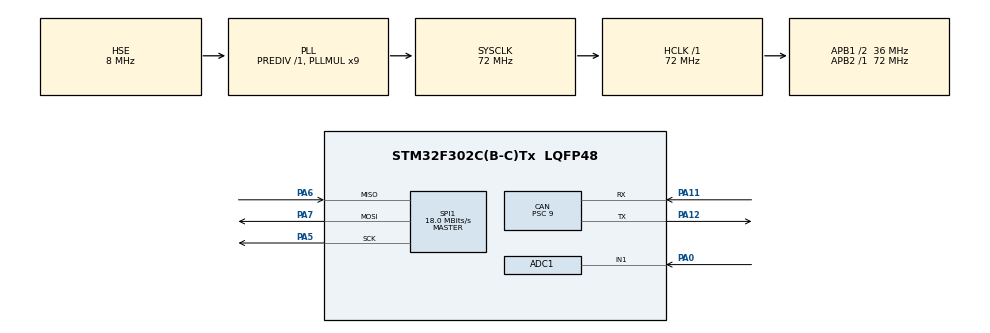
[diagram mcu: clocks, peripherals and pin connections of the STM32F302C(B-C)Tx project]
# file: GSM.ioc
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ADC1.Channel-0\#ChannelRegularConversion=ADC_CHANNEL_1
ADC1.NbrOfConversionFlag=1
ADC1.Offset-0\#ChannelRegularConversion=0
ADC1.OffsetNumber-0\#ChannelRegularConversion=ADC_OFFSET_NONE
ADC1.Rank-0\#ChannelRegularConversion=1
ADC1.SamplingTime-0\#ChannelRegularConversion=ADC_SAMPLETIME_1CYCLE_5
ADC1.SubFamily=STM32F302xC
ADC1.master=1
CAN.ABOM=ENABLE
CAN.BS1=CAN_BS1_6TQ
CAN.CalculateTimeQuantum=250.0
CAN.NART=ENABLE
CAN.Prescaler=9
CAN.RFLM=ENABLE
CAN.SJW=CAN_SJW_4TQ
FREERTOS.INCLUDE_uxTaskGetStackHighWaterMark=1
FREERTOS.INCLUDE_vTaskDelayUntil=1
FREERTOS.MEMORY_ALLOCATION=1
FREERTOS.Tasks01=Task100Hz,-1,512,RunTask100Hz,Default,NULL,Static,Task100HzBuffer,Task100HzControlBlock;Task1Hz,-2,512,RunTask1Hz,Default,NULL,Static,Task1HzBuffer,Task1HzControlBlock;Task1kHz,1,512,RunTask1kHz,Default,NULL,Static,Task1kHzBuffer,Task1kHzControlBlock;TaskCanRx,-3,512,RunTaskCanRx,Default,NULL,Static,TaskCanRxBuffer,TaskCanRxControlBlock;TaskCanTx,-3,512,RunTaskCanTx,Default,NULL,Static,TaskCanTxBuffer,TaskCanTxControlBlock
FREERTOS.configCHECK_FOR_STACK_OVERFLOW=2
FREERTOS.configUSE_TICK_HOOK=1
FREERTOS.configUSE_TRACE_FACILITY=1
IWDG.Reload=LSI_FREQUENCY / IWDG_PRESCALER / IWDG_RESET_FREQUENCY
IWDG.Window=IWDG_WINDOW_DISABLE_VALUE
Mcu.Family=STM32F3
Mcu.Name=STM32F302C(B-C)Tx
Mcu.Package=LQFP48
Mcu.UserConstants=IWDG_WINDOW_DISABLE_VALUE,4095;IWDG_PRESCALER,4;IWDG_RESET_FREQUENCY,5;LSI_FREQUENCY,40000;TASK_STACK_SIZE,512
NVIC.CAN_RX1_IRQn=true\:5\:0\:false\:false\:true\:true\:true\:true
NVIC.PriorityGroup=NVIC_PRIORITYGROUP_4
NVIC.TIM1_UP_TIM16_IRQn=true\:0\:0\:false\:false\:true\:false\:false\:true
NVIC.TimeBase=TIM1_UP_TIM16_IRQn
NVIC.TimeBaseIP=TIM1
NVIC.USB_HP_CAN_TX_IRQn=true\:5\:0\:false\:false\:true\:true\:true\:true
NVIC.USB_LP_CAN_RX0_IRQn=true\:5\:0\:false\:false\:true\:true\:true\:true
PA0.Mode=IN1-Single-Ended
PA0.Signal=ADC1_IN1
PA11.Mode=Master
PA11.Signal=CAN_RX
PA12.Mode=Master
PA12.Signal=CAN_TX
PA13.Mode=Trace_Asynchronous_SW
PA13.Signal=SYS_JTMS-SWDIO
PA14.Mode=Trace_Asynchronous_SW
PA14.Signal=SYS_JTCK-SWCLK
PA5.Mode=Full_Duplex_Master
PA5.Signal=SPI1_SCK
PA6.Mode=Full_Duplex_Master
PA6.Signal=SPI1_MISO
PA7.Mode=Full_Duplex_Master
PA7.Signal=SPI1_MOSI
PB3.Mode=Trace_Asynchronous_SW
PB3.Signal=SYS_JTDO-TRACESWO
PF0-OSC_IN.Mode=HSE-External-Oscillator
PF0-OSC_IN.Signal=RCC_OSC_IN
PF1-OSC_OUT.Mode=HSE-External-Oscillator
PF1-OSC_OUT.Signal=RCC_OSC_OUT
ProjectManager.HeapSize=0x0
ProjectManager.StackSize=0x400
ProjectManager.TargetToolchain=SW4STM32
RCC.AHBFreq_Value=72000000
RCC.APB1CLKDivider=RCC_HCLK_DIV2
RCC.APB1Freq_Value=36000000
RCC.APB1TimFreq_Value=72000000
RCC.APB2Freq_Value=72000000
RCC.APB2TimFreq_Value=72000000
RCC.CortexFreq_Value=72000000
RCC.HCLKFreq_Value=72000000
RCC.HSE_VALUE=8000000
RCC.HSI_VALUE=8000000
RCC.LSE_VALUE=32768
RCC.PLLMUL=RCC_PLL_MUL9
RCC.PLLSourceVirtual=RCC_PLLSOURCE_HSE
RCC.SYSCLKFreq_VALUE=72000000
RCC.SYSCLKSourceVirtual=RCC_SYSCLKSOURCE_PLLCLK
RCC.USBFreq_Value=72000000
SPI1.BaudRatePrescaler=SPI_BAUDRATEPRESCALER_4
SPI1.CalculateBaudRate=18.0 MBits/s
SPI1.Direction=SPI_DIRECTION_2LINES
SPI1.Mode=SPI_MODE_MASTER
SPI1.VirtualType=VM_MASTER
VP_FREERTOS_VS_CMSIS_V1.Mode=CMSIS_V1
VP_IWDG_VS_IWDG.Mode=IWDG_Activate
VP_SYS_VS_tim1.Mode=TIM1
board=custom

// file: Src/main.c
/* USER CODE BEGIN Header */
/**
 ******************************************************************************
 * @file           : main.c
 * @brief          : Main program body
 ******************************************************************************
 * @attention
 *
 * <h2><center>&copy; Copyright (c) 2022 STMicroelectronics.
 * All rights reserved.</center></h2>
 *
 * This software component is licensed by ST under Ultimate Liberty license
 * SLA0044, the "License"; You may not use this file except in compliance with
 * the License. You may obtain a copy of the License at:
 *                             www.st.com/SLA0044
 *
 ******************************************************************************
 */
/* USER CODE END Header */

#include "main.h"
#include "cmsis_os.h"

/* USER CODE BEGIN Includes */
#include <assert.h>

#include "Io_CanTx.h"
#include "Io_CanRx.h"
#include "Io_SharedSoftwareWatchdog.h"
#include "Io_SharedCan.h"
#include "Io_SharedHardFaultHandler.h"
#include "Io_StackWaterMark.h"
#include "Io_SoftwareWatchdog.h"

#include "App_CanUtils.h"
#include "App_GsmWorld.h"
#include "App_SharedMacros.h"
#include "App_SharedStateMachine.h"
#include "states/App_DefaultState.h"
/* USER CODE END Includes */

ADC_HandleTypeDef hadc1;

CAN_HandleTypeDef hcan;

IWDG_HandleTypeDef hiwdg;

SPI_HandleTypeDef hspi1;

osThreadId          Task100HzHandle;
uint32_t            Task100HzBuffer[512];
osStaticThreadDef_t Task100HzControlBlock;
osThreadId          Task1HzHandle;
uint32_t            Task1HzBuffer[512];
osStaticThreadDef_t Task1HzControlBlock;
osThreadId          Task1kHzHandle;
uint32_t            Task1kHzBuffer[512];
osStaticThreadDef_t Task1kHzControlBlock;
osThreadId          TaskCanRxHandle;
uint32_t            TaskCanRxBuffer[512];
osStaticThreadDef_t TaskCanRxControlBlock;
osThreadId          TaskCanTxHandle;
uint32_t            TaskCanTxBuffer[512];
osStaticThreadDef_t TaskCanTxControlBlock;
/* USER CODE BEGIN PV */
struct GsmWorld *    world;
struct StateMachine *state_machine;
struct Clock *       clock;
/* USER CODE END PV */

void        SystemClock_Config(void);
static void MX_GPIO_Init(void);
static void MX_CAN_Init(void);
static void MX_ADC1_Init(void);
static void MX_SPI1_Init(void);
static void MX_IWDG_Init(void);
void        RunTask100Hz(void const *argument);
void        RunTask1Hz(void const *argument);
void        RunTask1kHz(void const *argument);
void        RunTaskCanRx(void const *argument);
void        RunTaskCanTx(void const *argument);

/* USER CODE BEGIN PFP */
static void CanRxQueueOverflowCallBack(size_t overflow_count);
static void CanTxQueueOverflowCallBack(size_t overflow_count);

/* USER CODE END PFP */

/* USER CODE BEGIN 0 */
static void CanRxQueueOverflowCallBack(size_t overflow_count)
{
    // JSONCAN -> App_CanTx_SetPeriodicSignal_RX_OVERFLOW_COUNT(can_tx, overflow_count);
}

static void CanTxQueueOverflowCallBack(size_t overflow_count)
{
    // JSONCAN -> App_CanTx_SetPeriodicSignal_TX_OVERFLOW_COUNT(can_tx, overflow_count);
}

/* USER CODE END 0 */

int main(void)
{

    /* MCU Configuration--------------------------------------------------------*/

    /* Reset of all peripherals, Initializes the Flash interface and the Systick. */
    HAL_Init();

    /* Configure the system clock */
    SystemClock_Config();

    /* Initialize all configured peripherals */
    MX_GPIO_Init();
    MX_CAN_Init();
    MX_ADC1_Init();
    MX_SPI1_Init();
    MX_IWDG_Init();
    /* USER CODE BEGIN 2 */
    __HAL_DBGMCU_FREEZE_IWDG();

    Io_SharedHardFaultHandler_Init();

    App_CanTx_Init();
    App_CanRx_Init();
    App_CanAlerts_Init(Io_CanTx_GSM_Alerts_SendAperiodic);

    clock         = App_SharedClock_Create();
    world         = App_GsmWorld_Create(clock);
    state_machine = App_SharedStateMachine_Create(world, App_GetDefaultState());

    // struct CanMsgs_gsm_startup_t payload = { .dummy = 0 };
    // App_CanTx_SendNonPeriodicMsg_GSM_STARTUP(can_tx, &payload);
    /* USER CODE END 2 */

    /* Create the thread(s) */
    /* definition and creation of Task100Hz */
    osThreadStaticDef(Task100Hz, RunTask100Hz, osPriorityBelowNormal, 0, 512, Task100HzBuffer, &Task100HzControlBlock);
    Task100HzHandle = osThreadCreate(osThread(Task100Hz), NULL);

    /* definition and creation of Task1Hz */
    osThreadStaticDef(Task1Hz, RunTask1Hz, osPriorityLow, 0, 512, Task1HzBuffer, &Task1HzControlBlock);
    Task1HzHandle = osThreadCreate(osThread(Task1Hz), NULL);

    /* definition and creation of Task1kHz */
    osThreadStaticDef(Task1kHz, RunTask1kHz, osPriorityAboveNormal, 0, 512, Task1kHzBuffer, &Task1kHzControlBlock);
    Task1kHzHandle = osThreadCreate(osThread(Task1kHz), NULL);

    /* definition and creation of TaskCanRx */
    osThreadStaticDef(TaskCanRx, RunTaskCanRx, osPriorityIdle, 0, 512, TaskCanRxBuffer, &TaskCanRxControlBlock);
    TaskCanRxHandle = osThreadCreate(osThread(TaskCanRx), NULL);

    /* definition and creation of TaskCanTx */
    osThreadStaticDef(TaskCanTx, RunTaskCanTx, osPriorityIdle, 0, 512, TaskCanTxBuffer, &TaskCanTxControlBlock);
    TaskCanTxHandle = osThreadCreate(osThread(TaskCanTx), NULL);

    /* Start scheduler */
    osKernelStart();

    /* We should never get here as control is now taken by the scheduler */

    /* Infinite loop */
    while (1)
    {

    }
}

void SystemClock_Config(void)
{
    RCC_OscInitTypeDef       RCC_OscInitStruct = { 0 };
    RCC_ClkInitTypeDef       RCC_ClkInitStruct = { 0 };
    RCC_PeriphCLKInitTypeDef PeriphClkInit     = { 0 };

    /** Initializes the CPU, AHB and APB busses clocks
     */
    RCC_OscInitStruct.OscillatorType = RCC_OSCILLATORTYPE_LSI | RCC_OSCILLATORTYPE_HSE;
    RCC_OscInitStruct.HSEState       = RCC_HSE_ON;
    RCC_OscInitStruct.HSEPredivValue = RCC_HSE_PREDIV_DIV1;
    RCC_OscInitStruct.HSIState       = RCC_HSI_ON;
    RCC_OscInitStruct.LSIState       = RCC_LSI_ON;
    RCC_OscInitStruct.PLL.PLLState   = RCC_PLL_ON;
    RCC_OscInitStruct.PLL.PLLSource  = RCC_PLLSOURCE_HSE;
    RCC_OscInitStruct.PLL.PLLMUL     = RCC_PLL_MUL9;
    if (HAL_RCC_OscConfig(&RCC_OscInitStruct) != HAL_OK)
    {
        Error_Handler();
    }
    /** Initializes the CPU, AHB and APB busses clocks
     */
    RCC_ClkInitStruct.ClockType = RCC_CLOCKTYPE_HCLK | RCC_CLOCKTYPE_SYSCLK | RCC_CLOCKTYPE_PCLK1 | RCC_CLOCKTYPE_PCLK2;
    RCC_ClkInitStruct.SYSCLKSource   = RCC_SYSCLKSOURCE_PLLCLK;
    RCC_ClkInitStruct.AHBCLKDivider  = RCC_SYSCLK_DIV1;
    RCC_ClkInitStruct.APB1CLKDivider = RCC_HCLK_DIV2;
    RCC_ClkInitStruct.APB2CLKDivider = RCC_HCLK_DIV1;

    if (HAL_RCC_ClockConfig(&RCC_ClkInitStruct, FLASH_LATENCY_2) != HAL_OK)
    {
        Error_Handler();
    }
    PeriphClkInit.PeriphClockSelection = RCC_PERIPHCLK_ADC12;
    PeriphClkInit.Adc12ClockSelection  = RCC_ADC12PLLCLK_DIV1;
    if (HAL_RCCEx_PeriphCLKConfig(&PeriphClkInit) != HAL_OK)
    {
        Error_Handler();
    }
}

static void MX_ADC1_Init(void)
{

    ADC_MultiModeTypeDef   multimode = { 0 };
    ADC_ChannelConfTypeDef sConfig   = { 0 };

    /** Common config
     */
    hadc1.Instance                   = ADC1;
    hadc1.Init.ClockPrescaler        = ADC_CLOCK_ASYNC_DIV1;
    hadc1.Init.Resolution            = ADC_RESOLUTION_12B;
    hadc1.Init.ScanConvMode          = ADC_SCAN_DISABLE;
    hadc1.Init.ContinuousConvMode    = DISABLE;
    hadc1.Init.DiscontinuousConvMode = DISABLE;
    hadc1.Init.ExternalTrigConvEdge  = ADC_EXTERNALTRIGCONVEDGE_NONE;
    hadc1.Init.ExternalTrigConv      = ADC_SOFTWARE_START;
    hadc1.Init.DataAlign             = ADC_DATAALIGN_RIGHT;
    hadc1.Init.NbrOfConversion       = 1;
    hadc1.Init.DMAContinuousRequests = DISABLE;
    hadc1.Init.EOCSelection          = ADC_EOC_SINGLE_CONV;
    hadc1.Init.LowPowerAutoWait      = DISABLE;
    hadc1.Init.Overrun               = ADC_OVR_DATA_OVERWRITTEN;
    if (HAL_ADC_Init(&hadc1) != HAL_OK)
    {
        Error_Handler();
    }
    /** Configure the ADC multi-mode
     */
    multimode.Mode = ADC_MODE_INDEPENDENT;
    if (HAL_ADCEx_MultiModeConfigChannel(&hadc1, &multimode) != HAL_OK)
    {
        Error_Handler();
    }
    /** Configure Regular Channel
     */
    sConfig.Channel      = ADC_CHANNEL_1;
    sConfig.Rank         = ADC_REGULAR_RANK_1;
    sConfig.SingleDiff   = ADC_SINGLE_ENDED;
    sConfig.SamplingTime = ADC_SAMPLETIME_1CYCLE_5;
    sConfig.OffsetNumber = ADC_OFFSET_NONE;
    sConfig.Offset       = 0;
    if (HAL_ADC_ConfigChannel(&hadc1, &sConfig) != HAL_OK)
    {
        Error_Handler();
    }
}

static void MX_CAN_Init(void)
{

    hcan.Instance                  = CAN;
    hcan.Init.Prescaler            = 9;
    hcan.Init.Mode                 = CAN_MODE_NORMAL;
    hcan.Init.SyncJumpWidth        = CAN_SJW_4TQ;
    hcan.Init.TimeSeg1             = CAN_BS1_6TQ;
    hcan.Init.TimeSeg2             = CAN_BS2_1TQ;
    hcan.Init.TimeTriggeredMode    = DISABLE;
    hcan.Init.AutoBusOff           = ENABLE;
    hcan.Init.AutoWakeUp           = DISABLE;
    hcan.Init.AutoRetransmission   = ENABLE;
    hcan.Init.ReceiveFifoLocked    = ENABLE;
    hcan.Init.TransmitFifoPriority = DISABLE;
    if (HAL_CAN_Init(&hcan) != HAL_OK)
    {
        Error_Handler();
    }
    /* USER CODE BEGIN CAN_Init 2 */
    Io_SharedCan_Init(&hcan, CanTxQueueOverflowCallBack, CanRxQueueOverflowCallBack);
    /* USER CODE END CAN_Init 2 */
}

static void MX_IWDG_Init(void)
{

    hiwdg.Instance       = IWDG;
    hiwdg.Init.Prescaler = IWDG_PRESCALER_4;
    hiwdg.Init.Window    = IWDG_WINDOW_DISABLE_VALUE;
    hiwdg.Init.Reload    = LSI_FREQUENCY / IWDG_PRESCALER / IWDG_RESET_FREQUENCY;
    if (HAL_IWDG_Init(&hiwdg) != HAL_OK)
    {
        Error_Handler();
    }
    /* USER CODE BEGIN IWDG_Init 2 */
    Io_SharedSoftwareWatchdog_Init(Io_HardwareWatchdog_Refresh, Io_SoftwareWatchdog_TimeoutCallback);
    /* USER CODE END IWDG_Init 2 */
}

static void MX_SPI1_Init(void)
{

    /* SPI1 parameter configuration*/
    hspi1.Instance               = SPI1;
    hspi1.Init.Mode              = SPI_MODE_MASTER;
    hspi1.Init.Direction         = SPI_DIRECTION_2LINES;
    hspi1.Init.DataSize          = SPI_DATASIZE_4BIT;
    hspi1.Init.CLKPolarity       = SPI_POLARITY_LOW;
    hspi1.Init.CLKPhase          = SPI_PHASE_1EDGE;
    hspi1.Init.NSS               = SPI_NSS_SOFT;
    hspi1.Init.BaudRatePrescaler = SPI_BAUDRATEPRESCALER_4;
    hspi1.Init.FirstBit          = SPI_FIRSTBIT_MSB;
    hspi1.Init.TIMode            = SPI_TIMODE_DISABLE;
    hspi1.Init.CRCCalculation    = SPI_CRCCALCULATION_DISABLE;
    hspi1.Init.CRCPolynomial     = 7;
    hspi1.Init.CRCLength         = SPI_CRC_LENGTH_DATASIZE;
    hspi1.Init.NSSPMode          = SPI_NSS_PULSE_ENABLE;
    if (HAL_SPI_Init(&hspi1) != HAL_OK)
    {
        Error_Handler();
    }
}

static void MX_GPIO_Init(void)
{
    GPIO_InitTypeDef GPIO_InitStruct = { 0 };

    /* GPIO Ports Clock Enable */
    __HAL_RCC_GPIOC_CLK_ENABLE();
    __HAL_RCC_GPIOF_CLK_ENABLE();
    __HAL_RCC_GPIOA_CLK_ENABLE();
    __HAL_RCC_GPIOB_CLK_ENABLE();

    /*Configure GPIO pins : PC13 PC14 PC15 */
    GPIO_InitStruct.Pin  = GPIO_PIN_13 | GPIO_PIN_14 | GPIO_PIN_15;
    GPIO_InitStruct.Mode = GPIO_MODE_ANALOG;
    GPIO_InitStruct.Pull = GPIO_NOPULL;
    HAL_GPIO_Init(GPIOC, &GPIO_InitStruct);

    /*Configure GPIO pins : PA1 PA2 PA3 PA4
                             PA8 PA9 PA10 PA15 */
    GPIO_InitStruct.Pin =
        GPIO_PIN_1 | GPIO_PIN_2 | GPIO_PIN_3 | GPIO_PIN_4 | GPIO_PIN_8 | GPIO_PIN_9 | GPIO_PIN_10 | GPIO_PIN_15;
    GPIO_InitStruct.Mode = GPIO_MODE_ANALOG;
    GPIO_InitStruct.Pull = GPIO_NOPULL;
    HAL_GPIO_Init(GPIOA, &GPIO_InitStruct);

    /*Configure GPIO pins : PB0 PB1 PB2 PB10
                             PB11 PB12 PB13 PB14
                             PB15 PB4 PB5 PB6
                             PB7 PB8 PB9 */
    GPIO_InitStruct.Pin = GPIO_PIN_0 | GPIO_PIN_1 | GPIO_PIN_2 | GPIO_PIN_10 | GPIO_PIN_11 | GPIO_PIN_12 | GPIO_PIN_13 |
                          GPIO_PIN_14 | GPIO_PIN_15 | GPIO_PIN_4 | GPIO_PIN_5 | GPIO_PIN_6 | GPIO_PIN_7 | GPIO_PIN_8 |
                          GPIO_PIN_9;
    GPIO_InitStruct.Mode = GPIO_MODE_ANALOG;
    GPIO_InitStruct.Pull = GPIO_NOPULL;
    HAL_GPIO_Init(GPIOB, &GPIO_InitStruct);
}

void RunTask100Hz(void const *argument)
{
    /* USER CODE BEGIN 5 */
    UNUSED(argument);
    uint32_t                 PreviousWakeTime = osKernelSysTick();
    static const TickType_t  period_ms        = 10;
    SoftwareWatchdogHandle_t watchdog         = Io_SharedSoftwareWatchdog_AllocateWatchdog();
    Io_SharedSoftwareWatchdog_InitWatchdog(watchdog, RTOS_TASK_100HZ, period_ms);

    for (;;)
    {
        App_SharedStateMachine_Tick100Hz(state_machine);

        // Watchdog check-in must be the last function called before putting the
        // task to sleep.
        Io_SharedSoftwareWatchdog_CheckInWatchdog(watchdog);
        osDelayUntil(&PreviousWakeTime, period_ms);
    }
    /* USER CODE END 5 */
}

void RunTask1Hz(void const *argument)
{
    /* USER CODE BEGIN RunTask1Hz */
    UNUSED(argument);
    uint32_t                 PreviousWakeTime = osKernelSysTick();
    static const TickType_t  period_ms        = 1000U;
    SoftwareWatchdogHandle_t watchdog         = Io_SharedSoftwareWatchdog_AllocateWatchdog();
    Io_SharedSoftwareWatchdog_InitWatchdog(watchdog, RTOS_TASK_1HZ, period_ms);

    for (;;)
    {
        App_SharedStateMachine_Tick1Hz(state_machine);
        Io_StackWaterMark_Check();

        // Watchdog check-in must be the last function called before putting the
        // task to sleep.
        Io_SharedSoftwareWatchdog_CheckInWatchdog(watchdog);
        osDelayUntil(&PreviousWakeTime, period_ms);
    }
    /* USER CODE END RunTask1Hz */
}

void RunTask1kHz(void const *argument)
{
    /* USER CODE BEGIN RunTask1kHz */
    UNUSED(argument);
    uint32_t                 PreviousWakeTime = osKernelSysTick();
    static const TickType_t  period_ms        = 1;
    SoftwareWatchdogHandle_t watchdog         = Io_SharedSoftwareWatchdog_AllocateWatchdog();
    Io_SharedSoftwareWatchdog_InitWatchdog(watchdog, RTOS_TASK_1KHZ, period_ms);

    for (;;)
    {
        Io_SharedSoftwareWatchdog_CheckForTimeouts();
        const uint32_t task_start_ms = TICK_TO_MS(osKernelSysTick());

        //        Io_CanTx_EnqueuePeriodicMsgs(task_start_ms); // TODO: JSONCAN

        // Watchdog check-in must be the last function called before putting the
        // task to sleep. Prevent check in if the elapsed period is greater or
        // equal to the period ms
        if ((TICK_TO_MS(osKernelSysTick()) - task_start_ms) <= period_ms)
        {
            Io_SharedSoftwareWatchdog_CheckInWatchdog(watchdog);
        }

        osDelayUntil(&PreviousWakeTime, period_ms);
    }
    /* USER CODE END RunTask1kHz */
}

void RunTaskCanRx(void const *argument)
{
    /* USER CODE BEGIN RunTaskCanRx */
    UNUSED(argument);

    for (;;)
    {
        struct CanMsg message;
        Io_SharedCan_DequeueCanRxMessage(&message);
        Io_CanRx_UpdateRxTableWithMessage(&message);
    }
    /* USER CODE END RunTaskCanRx */
}

void RunTaskCanTx(void const *argument)
{
    /* USER CODE BEGIN RunTaskCanTx */
    UNUSED(argument);

    for (;;)
    {
        Io_SharedCan_TransmitEnqueuedCanTxMessagesFromTask();
    }
    /* USER CODE END RunTaskCanTx */
}

void HAL_TIM_PeriodElapsedCallback(TIM_HandleTypeDef *htim)
{
    if (htim->Instance == TIM1)
    {
        HAL_IncTick();
    }
}

void Error_Handler(void)
{
    /* USER CODE BEGIN Error_Handler_Debug */
    __assert_func(__FILE__, __LINE__, "Error_Handler", "Error_Handler");
    /* USER CODE END Error_Handler_Debug */
}

#ifdef USE_FULL_ASSERT
/**
 * @brief  Reports the name of the source file and the source line number
 *         where the assert_param error has occurred.
 * @param  file: pointer to the source file name
 * @param  line: assert_param error line source number
 * @retval None
 */
void assert_failed(char *file, uint32_t line)
{
    /* USER CODE BEGIN 6 */
    __assert_func(file, line, "assert_failed", "assert_failed");
    /* USER CODE END 6 */
}
#endif /* USE_FULL_ASSERT */

/************************ (C) COPYRIGHT STMicroelectronics *****END OF FILE****/

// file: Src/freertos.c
/* USER CODE BEGIN Header */
/**
 ******************************************************************************
 * File Name          : freertos.c
 * Description        : Code for freertos applications
 ******************************************************************************
 * @attention
 *
 * <h2><center>&copy; Copyright (c) 2022 STMicroelectronics.
 * All rights reserved.</center></h2>
 *
 * This software component is licensed by ST under Ultimate Liberty license
 * SLA0044, the "License"; You may not use this file except in compliance with
 * the License. You may obtain a copy of the License at:
 *                             www.st.com/SLA0044
 *
 ******************************************************************************
 */
/* USER CODE END Header */

#include "FreeRTOS.h"

#include "main.h"
#include "task.h"

/* GetIdleTaskMemory prototype (linked to static allocation support) */
void vApplicationGetIdleTaskMemory(StaticTask_t **ppxIdleTaskTCBBuffer,
                                   StackType_t **ppxIdleTaskStackBuffer,
                                   uint32_t *pulIdleTaskStackSize);

/* Hook prototypes */
void vApplicationTickHook(void);
void vApplicationStackOverflowHook(xTaskHandle xTask, signed char *pcTaskName);

/* USER CODE BEGIN 3 */
__weak void vApplicationTickHook(void) {
  /* This function will be called by each tick interrupt if
  configUSE_TICK_HOOK is set to 1 in FreeRTOSConfig.h. User code can be
  added here, but the tick hook is called from an interrupt context, so
  code must not attempt to block, and only the interrupt safe FreeRTOS API
  functions can be used (those that end in FromISR()). */
}
/* USER CODE END 3 */

/* USER CODE BEGIN 4 */
__weak void vApplicationStackOverflowHook(xTaskHandle xTask,
                                          signed char *pcTaskName) {
  /* Run time stack overflow checking is performed if
  configCHECK_FOR_STACK_OVERFLOW is defined to 1 or 2. This hook function is
  called if a stack overflow is detected. */
}
/* USER CODE END 4 */

/* USER CODE BEGIN GET_IDLE_TASK_MEMORY */
static StaticTask_t xIdleTaskTCBBuffer;
static StackType_t xIdleStack[configMINIMAL_STACK_SIZE];

void vApplicationGetIdleTaskMemory(StaticTask_t **ppxIdleTaskTCBBuffer,
                                   StackType_t **ppxIdleTaskStackBuffer,
                                   uint32_t *pulIdleTaskStackSize) {
  *ppxIdleTaskTCBBuffer = &xIdleTaskTCBBuffer;
  *ppxIdleTaskStackBuffer = &xIdleStack[0];
  *pulIdleTaskStackSize = configMINIMAL_STACK_SIZE;
  /* place for user code */
}
/* USER CODE END GET_IDLE_TASK_MEMORY */

/************************ (C) COPYRIGHT STMicroelectronics *****END OF FILE****/
